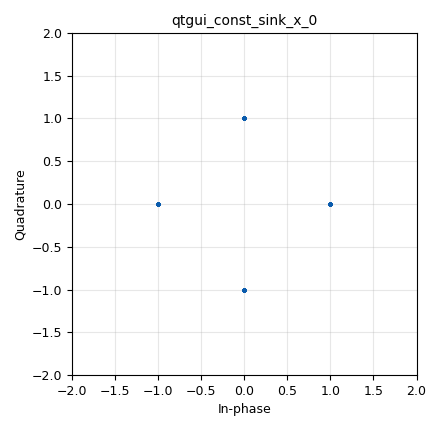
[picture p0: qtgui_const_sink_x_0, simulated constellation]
options:
  parameters:
    author: radiogis_director
    generate_options: qt_gui
    id: ej1
    output_language: python
    title: ej1
  states: {}

blocks:
- name: M
  id: variable
  parameters:
    value: len(tablaverdad_constelacion)
  states: {}
- name: Rs
  id: variable
  parameters:
    value: '32000'
  states: {}
- name: bps
  id: variable
  parameters:
    value: math.log(M,2)
  states: {}
- name: tablaverdad_constelacion
  id: variable
  parameters:
    value: (1+0j, 0+1j, -1+0j, 0-1j)
  states: {}
- name: blocks_vector_source_x_0
  id: blocks_vector_source_x
  parameters:
    repeat: 'True'
    type: int
    vector: (0, 1, 2, 3)
  states: {}
- name: digital_chunks_to_symbols_xx_0
  id: digital_chunks_to_symbols_xx
  parameters:
    dimension: '1'
    in_type: int
    out_type: complex
    symbol_table: tablaverdad_constelacion
  states: {}
- name: import_0
  id: import
  parameters:
    imports: import math
  states: {}
- name: qtgui_const_sink_x_0
  id: qtgui_const_sink_x
  parameters:
    size: '1024'
    type: complex
  states: {}

connections:
- [blocks_vector_source_x_0, '0', digital_chunks_to_symbols_xx_0, '0']
- [digital_chunks_to_symbols_xx_0, '0', qtgui_const_sink_x_0, '0']

metadata:
  file_format: 1
